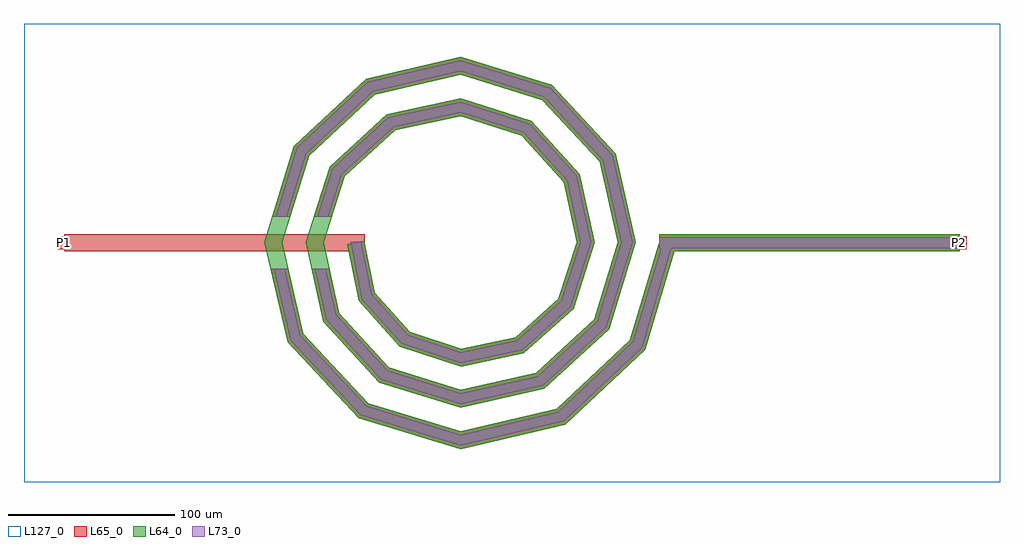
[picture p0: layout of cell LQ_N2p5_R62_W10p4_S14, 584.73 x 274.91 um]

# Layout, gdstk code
import gdstk
lib = gdstk.Library(unit=1e-6, precision=1e-09)
def R(c, l, rs):  # rectangles x0, y0, x1, y1
    for r in rs: c.add(gdstk.rectangle(r[:2], r[2:], *l))
def P(c, l, *ps):  # polygons
    for p in ps: c.add(gdstk.Polygon(p, *l))
L64_0 = (64, 0)
L65_0 = (65, 0)
L73_0 = (73, 0)
L127_0 = (127, 0)

lq_n2p5_r62_w10p4_s14 = lib.new_cell('LQ_N2p5_R62_W10p4_S14')
R(lq_n2p5_r62_w10p4_s14, L64_0, [(119.214,-5.2,299.214,5.2)])
P(lq_n2p5_r62_w10p4_s14, L64_0, [(-51.277,-29.973),(-30.458,-53.372),(0.3,-63.506),(33.033,-56.633),(58.701,-33.565),(69.675,0.275),(61.988,36.098),(36.668,64.033),(0.254,75.845),(-39.165,67.34),(-69.366,39.769),(-82.014,0.236),(-72.692,-42.235),(-42.868,-74.701),(0.221,-88.183),(45.307,-78.042),(80.037,-45.965),(94.353,0.207),(83.392,48.381),(49.061,85.374),(0.195,100.523),(-51.455,88.741),(-90.711,52.155),(-106.693,0.184),(-94.089,-54.531),(-55.249,-96.049),(0.175,-112.862),(57.608,-99.437),(101.388,-58.342),(119.435,1.501),(129.392,-1.501),(110.54,-64.015),(62.692,-108.929),(0.175,-123.624),(-60.938,-105.192),(-103.59,-59.599),(-117.454,0.184),(-99.843,57.861),(-56.505,98.251),(0.195,111.284),(54.786,94.494),(92.913,53.409),(105.113,0.207),(89.144,-51.711),(50.313,-87.576),(0.221,-98.943),(-48.638,-83.793),(-82.24,-47.214),(-92.772,0.236),(-78.44,45.567),(-44.114,76.904),(0.254,86.601),(42.498,73.087),(71.57,41.012),(80.43,0.275),(67.732,-39.431),(37.906,-66.237),(0.3,-74.259),(-36.368,-62.374),(-60.906,-34.796),(-67.807,-1.042),(-57.618,1.042)])
R(lq_n2p5_r62_w10p4_s14, L65_0, [(-237.513,-5.2,-57.513,5.2), (119.214,-5.2,299.214,5.2), (-241.513,-4,-233.513,4), (295.214,-4,303.214,4)])
P(lq_n2p5_r62_w10p4_s14, L65_0, [(-94.089,-54.531),(-55.249,-96.05),(0.175,-112.862),(57.608,-99.437),(101.388,-58.342),(119.435,1.501),(129.392,-1.501),(110.54,-64.015),(62.692,-108.929),(0.175,-123.624),(-60.938,-105.192),(-103.59,-59.599),(-113.794,-15.6),(-103.118,-15.6)],
  [(-72.692,-42.235),(-42.868,-74.701),(0.221,-88.183),(45.307,-78.042),(80.037,-45.965),(94.353,0.207),(83.392,48.381),(49.061,85.374),(0.195,100.523),(-51.455,88.741),(-90.711,52.155),(-101.873,15.6),(-112.747,15.6),(-99.843,57.861),(-56.505,98.251),(0.195,111.284),(54.786,94.494),(92.913,53.409),(105.113,0.207),(89.144,-51.711),(50.313,-87.576),(0.221,-98.943),(-48.638,-83.793),(-82.24,-47.215),(-89.257,-15.6),(-78.604,-15.6)],
  [(-30.458,-53.372),(0.3,-63.506),(33.033,-56.633),(58.701,-33.565),(69.675,0.275),(61.988,36.098),(36.668,64.033),(0.254,75.845),(-39.165,67.34),(-69.366,39.769),(-77.007,15.6),(-87.915,15.6),(-78.441,45.567),(-44.114,76.904),(0.254,86.601),(42.498,73.087),(71.57,41.012),(80.43,0.275),(67.732,-39.431),(37.906,-66.237),(0.3,-74.259),(-36.368,-62.374),(-60.906,-34.796),(-67.807,-1.042),(-57.618,1.042),(-51.277,-29.973)])
R(lq_n2p5_r62_w10p4_s14, L73_0, [(119.214,-3.2,299.214,3.2)])
P(lq_n2p5_r62_w10p4_s14, L73_0, [(-95.916,-55.506),(-56.343,-97.808),(0.108,-114.932),(58.586,-101.262),(103.148,-59.433),(121.35,0.924),(127.477,0.924),(108.78,-62.924),(61.714,-107.104),(0.108,-121.555),(-59.844,-103.434),(-101.763,-58.624),(-111.74,-15.6),(-105.171,-15.6)],
  [(-74.528,-43.193),(-43.978,-76.449),(0.136,-90.253),(46.27,-79.876),(81.788,-47.07),(96.422,0.127),(85.223,49.348),(50.162,87.128),(0.12,102.592),(-52.426,90.57),(-92.467,53.253),(-103.964,15.6),(-110.656,15.6),(-98.087,56.764),(-55.534,96.422),(0.12,109.214),(53.685,92.74),(91.082,52.442),(103.044,0.127),(87.392,-50.606),(49.35,-85.743),(0.136,-96.874),(-47.529,-82.044),(-80.403,-46.257),(-87.208,-15.6),(-80.652,-15.6)],
  [(-31.594,-55.103),(0.184,-65.574),(33.97,-58.48),(60.438,-34.693),(71.744,0.169),(63.83,37.043),(37.789,65.774),(0.156,77.913),(-40.117,69.179),(-71.111,40.884),(-79.105,15.6),(-85.817,15.6),(-76.695,44.452),(-43.163,75.065),(0.156,84.533),(41.377,71.346),(69.727,40.067),(78.362,0.169),(65.995,-38.303),(36.969,-64.39),(0.184,-72.191),(-35.232,-60.643),(-59.055,-33.869),(-65.848,0.641),(-59.577,0.641),(-53.129,-30.9)])
R(lq_n2p5_r62_w10p4_s14, L127_0, [(-261.513,-143.624,323.214,131.284)])
lq_n2p5_r62_w10p4_s14.add(gdstk.Label('P2', (299.214,0), layer=65, texttype=0))
lq_n2p5_r62_w10p4_s14.add(gdstk.Label('P1', (-237.513,0), layer=65, texttype=0))
lq_n2p5_r62_w10p4_s14.add(gdstk.Label('P2', (303.214,0), layer=145, texttype=0))
lq_n2p5_r62_w10p4_s14.add(gdstk.Label('P1', (-241.513,0), layer=145, texttype=0))

lib.write_gds('LQ_N2p5_R62_W10p4_S14.gds')
